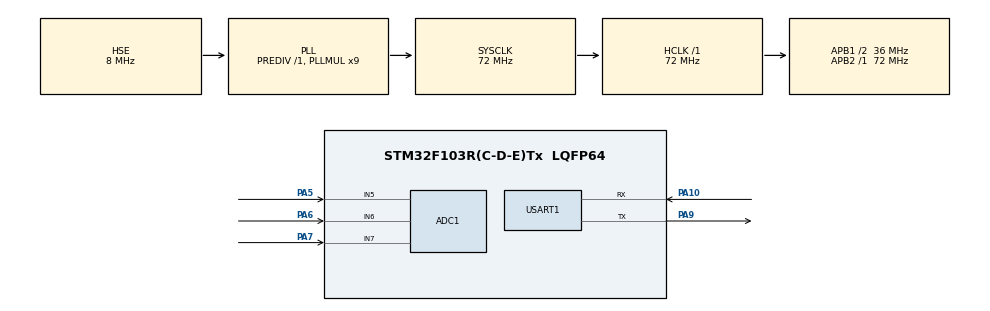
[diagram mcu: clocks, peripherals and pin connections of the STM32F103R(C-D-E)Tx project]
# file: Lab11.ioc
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ADC1.Channel-1\#ChannelRegularConversion=ADC_CHANNEL_5
ADC1.Channel-2\#ChannelRegularConversion=ADC_CHANNEL_6
ADC1.Channel-3\#ChannelRegularConversion=ADC_CHANNEL_7
ADC1.DiscontinuousConvMode=ENABLE
ADC1.NbrOfConversion=3
ADC1.NbrOfConversionFlag=1
ADC1.Rank-1\#ChannelRegularConversion=1
ADC1.Rank-2\#ChannelRegularConversion=2
ADC1.Rank-3\#ChannelRegularConversion=3
ADC1.SamplingTime-1\#ChannelRegularConversion=ADC_SAMPLETIME_1CYCLE_5
ADC1.SamplingTime-2\#ChannelRegularConversion=ADC_SAMPLETIME_1CYCLE_5
ADC1.SamplingTime-3\#ChannelRegularConversion=ADC_SAMPLETIME_1CYCLE_5
ADC1.master=1
Mcu.Family=STM32F1
Mcu.Name=STM32F103R(C-D-E)Tx
Mcu.Package=LQFP64
NVIC.PriorityGroup=NVIC_PRIORITYGROUP_4
PA10.Mode=Asynchronous
PA10.Signal=USART1_RX
PA13.Mode=Serial_Wire
PA13.Signal=SYS_JTMS-SWDIO
PA14.Mode=Serial_Wire
PA14.Signal=SYS_JTCK-SWCLK
PA5.Signal=ADCx_IN5
PA6.Signal=ADCx_IN6
PA7.Signal=ADCx_IN7
PA9.Mode=Asynchronous
PA9.Signal=USART1_TX
PD0-OSC_IN.Mode=HSE-External-Oscillator
PD0-OSC_IN.Signal=RCC_OSC_IN
PD1-OSC_OUT.Mode=HSE-External-Oscillator
PD1-OSC_OUT.Signal=RCC_OSC_OUT
ProjectManager.HeapSize=0x200
ProjectManager.StackSize=0x400
ProjectManager.TargetToolchain=STM32CubeIDE
RCC.ADCPresc=RCC_ADCPCLK2_DIV6
RCC.AHBFreq_Value=72000000
RCC.APB1CLKDivider=RCC_HCLK_DIV2
RCC.APB1Freq_Value=36000000
RCC.APB1TimFreq_Value=72000000
RCC.APB2Freq_Value=72000000
RCC.APB2TimFreq_Value=72000000
RCC.HCLKFreq_Value=72000000
RCC.PLLMUL=RCC_PLL_MUL9
RCC.PLLSourceVirtual=RCC_PLLSOURCE_HSE
RCC.SYSCLKFreq_VALUE=72000000
RCC.SYSCLKSource=RCC_SYSCLKSOURCE_PLLCLK
RCC.USBFreq_Value=72000000
SH.ADCx_IN5.0=ADC1_IN5,IN5
SH.ADCx_IN6.0=ADC1_IN6,IN6
SH.ADCx_IN7.0=ADC1_IN7,IN7
USART1.VirtualMode=VM_ASYNC
board=custom

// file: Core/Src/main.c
/* USER CODE BEGIN Header */
/**
  ******************************************************************************
  * @file           : main.c
  * @brief          : Main program body
  ******************************************************************************
  * @attention
  *
  * Copyright (c) 2024 STMicroelectronics.
  * All rights reserved.
  *
  * This software is licensed under terms that can be found in the LICENSE file
  * in the root directory of this software component.
  * If no LICENSE file comes with this software, it is provided AS-IS.
  *
  ******************************************************************************
  */
/* USER CODE END Header */
#include "main.h"

/* USER CODE BEGIN Includes */
#include <string.h>
#include <stdio.h>
#include "lcd_v4.h"

/* USER CODE END Includes */

ADC_HandleTypeDef hadc1;

UART_HandleTypeDef huart1;

void SystemClock_Config(void);
static void MX_GPIO_Init(void);
static void MX_USART1_UART_Init(void);
static void MX_ADC1_Init(void);

int main(void)
{

  /* USER CODE BEGIN 1 */
	uint16_t raw;
	char msg[50];
	double vol[3];
	uint16_t adcBuf[3];

  /* USER CODE END 1 */

  /* MCU Configuration--------------------------------------------------------*/

  /* Reset of all peripherals, Initializes the Flash interface and the Systick. */
  HAL_Init();

  /* Configure the system clock */
  SystemClock_Config();

  /* Initialize all configured peripherals */
  MX_GPIO_Init();
  MX_USART1_UART_Init();
  MX_ADC1_Init();
  /* USER CODE BEGIN 2 */
  lcd_init();

  /* USER CODE END 2 */

  /* Infinite loop */
  while (1)
  {

    /* USER CODE BEGIN 3 */
	  lcd_clear(WHITE);g_back_color = WHITE;
	  for (int i = 0; i < 3; i++)
	  {
	  HAL_ADC_Start(&hadc1);
	  HAL_ADC_PollForConversion(&hadc1, HAL_MAX_DELAY);
	  adcBuf[i]=HAL_ADC_GetValue(&hadc1);
	  vol[i] = (double)adcBuf[i]*(3.3/4096);
	  sprintf(msg, "ch:%d %f\r\n", i, vol[i]);
	  HAL_UART_Transmit(&huart1, (uint8_t*)msg, strlen(msg), HAL_MAX_DELAY);
	  }
	  sprintf(msg, "ch:%d %f\r\n", 5, vol[0]);
	  lcd_show_string(10,lcddev.height/10,200,24,24,msg,BLACK);
	  sprintf(msg, "ch:%d %f\r\n", 6, vol[1]);
	  lcd_show_string(10,lcddev.height/10 + 30,200,24,24,msg,BLACK);
	  sprintf(msg, "ch:%d %f\r\n", 7, vol[2]);
	  lcd_show_string(10,lcddev.height/10 + 60,200,24,24,msg,BLACK);
	  HAL_Delay(500);
  }
  /* USER CODE END 3 */
}

void SystemClock_Config(void)
{
  RCC_OscInitTypeDef RCC_OscInitStruct = {0};
  RCC_ClkInitTypeDef RCC_ClkInitStruct = {0};
  RCC_PeriphCLKInitTypeDef PeriphClkInit = {0};

  /** Initializes the RCC Oscillators according to the specified parameters
  * in the RCC_OscInitTypeDef structure.
  */
  RCC_OscInitStruct.OscillatorType = RCC_OSCILLATORTYPE_HSE;
  RCC_OscInitStruct.HSEState = RCC_HSE_ON;
  RCC_OscInitStruct.HSEPredivValue = RCC_HSE_PREDIV_DIV1;
  RCC_OscInitStruct.HSIState = RCC_HSI_ON;
  RCC_OscInitStruct.PLL.PLLState = RCC_PLL_ON;
  RCC_OscInitStruct.PLL.PLLSource = RCC_PLLSOURCE_HSE;
  RCC_OscInitStruct.PLL.PLLMUL = RCC_PLL_MUL9;
  if (HAL_RCC_OscConfig(&RCC_OscInitStruct) != HAL_OK)
  {
    Error_Handler();
  }

  /** Initializes the CPU, AHB and APB buses clocks
  */
  RCC_ClkInitStruct.ClockType = RCC_CLOCKTYPE_HCLK|RCC_CLOCKTYPE_SYSCLK
                              |RCC_CLOCKTYPE_PCLK1|RCC_CLOCKTYPE_PCLK2;
  RCC_ClkInitStruct.SYSCLKSource = RCC_SYSCLKSOURCE_PLLCLK;
  RCC_ClkInitStruct.AHBCLKDivider = RCC_SYSCLK_DIV1;
  RCC_ClkInitStruct.APB1CLKDivider = RCC_HCLK_DIV2;
  RCC_ClkInitStruct.APB2CLKDivider = RCC_HCLK_DIV1;

  if (HAL_RCC_ClockConfig(&RCC_ClkInitStruct, FLASH_LATENCY_2) != HAL_OK)
  {
    Error_Handler();
  }
  PeriphClkInit.PeriphClockSelection = RCC_PERIPHCLK_ADC;
  PeriphClkInit.AdcClockSelection = RCC_ADCPCLK2_DIV6;
  if (HAL_RCCEx_PeriphCLKConfig(&PeriphClkInit) != HAL_OK)
  {
    Error_Handler();
  }
}

static void MX_ADC1_Init(void)
{

  ADC_ChannelConfTypeDef sConfig = {0};

  /** Common config
  */
  hadc1.Instance = ADC1;
  hadc1.Init.ScanConvMode = ADC_SCAN_ENABLE;
  hadc1.Init.ContinuousConvMode = DISABLE;
  hadc1.Init.DiscontinuousConvMode = ENABLE;
  hadc1.Init.NbrOfDiscConversion = 1;
  hadc1.Init.ExternalTrigConv = ADC_SOFTWARE_START;
  hadc1.Init.DataAlign = ADC_DATAALIGN_RIGHT;
  hadc1.Init.NbrOfConversion = 3;
  if (HAL_ADC_Init(&hadc1) != HAL_OK)
  {
    Error_Handler();
  }

  /** Configure Regular Channel
  */
  sConfig.Channel = ADC_CHANNEL_5;
  sConfig.Rank = ADC_REGULAR_RANK_1;
  sConfig.SamplingTime = ADC_SAMPLETIME_1CYCLE_5;
  if (HAL_ADC_ConfigChannel(&hadc1, &sConfig) != HAL_OK)
  {
    Error_Handler();
  }

  /** Configure Regular Channel
  */
  sConfig.Channel = ADC_CHANNEL_6;
  sConfig.Rank = ADC_REGULAR_RANK_2;
  if (HAL_ADC_ConfigChannel(&hadc1, &sConfig) != HAL_OK)
  {
    Error_Handler();
  }

  /** Configure Regular Channel
  */
  sConfig.Channel = ADC_CHANNEL_7;
  sConfig.Rank = ADC_REGULAR_RANK_3;
  if (HAL_ADC_ConfigChannel(&hadc1, &sConfig) != HAL_OK)
  {
    Error_Handler();
  }

}

static void MX_USART1_UART_Init(void)
{

  huart1.Instance = USART1;
  huart1.Init.BaudRate = 115200;
  huart1.Init.WordLength = UART_WORDLENGTH_8B;
  huart1.Init.StopBits = UART_STOPBITS_1;
  huart1.Init.Parity = UART_PARITY_NONE;
  huart1.Init.Mode = UART_MODE_TX_RX;
  huart1.Init.HwFlowCtl = UART_HWCONTROL_NONE;
  huart1.Init.OverSampling = UART_OVERSAMPLING_16;
  if (HAL_UART_Init(&huart1) != HAL_OK)
  {
    Error_Handler();
  }

}

static void MX_GPIO_Init(void)
{

  /* GPIO Ports Clock Enable */
  __HAL_RCC_GPIOD_CLK_ENABLE();
  __HAL_RCC_GPIOA_CLK_ENABLE();

}

void Error_Handler(void)
{
  __disable_irq();
  while (1)
  {
  }
}
